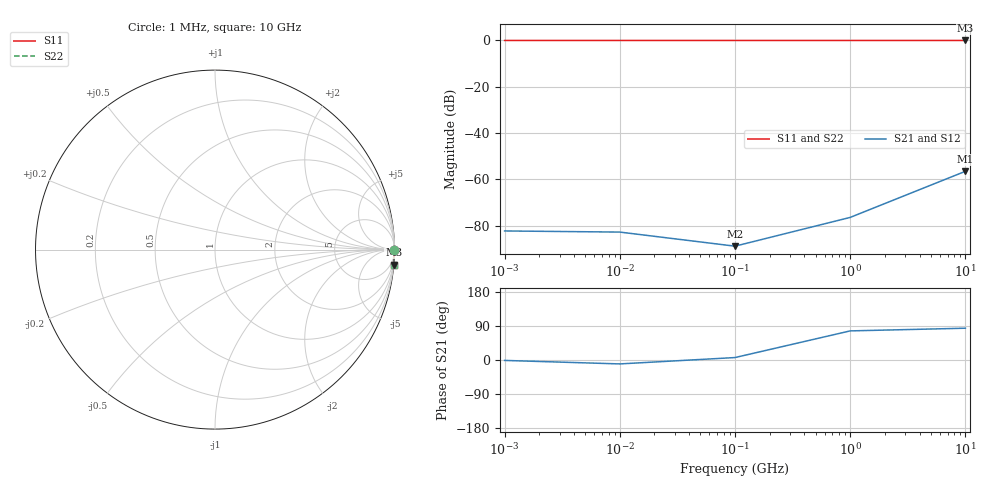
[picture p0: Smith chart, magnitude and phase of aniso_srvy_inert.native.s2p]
! Sonnet Data File
! From: em Version : 18.53-Lite
! From Project: d_zs01
! Data is NOT De-embedded
! Data File Written: 10/12/2026 11:31:27
!< HDATE 10/12/2026 11:31:27
!< MDATE 10/12/2026 11:31:27
# GHZ S RI R 50.00000
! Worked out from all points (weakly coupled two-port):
!   5 points, 1 MHz to 10 GHz, reference 50 ohm
!   highest |S21| = -56.56 dB at 10 GHz (marker M1); lowest = -88.9 dB at 100 MHz (marker M2)
!   lowest |S11| = 0.0 dB at 10 GHz (marker M3)
!   |S11| at or under -10 dB: nowhere
!   |S22| runs from 0.0 to 0.0 dB; largest |S21 - S12| = 5e-11
0.001  0.9997 -1.55e-05  7.64e-05 -1.49e-06  7.64e-05 -1.49e-06  0.9997 -1.55e-05
0.01  0.9997 -0.000149  7.1e-05 -1.3e-05  7.1e-05 -1.3e-05  0.9997 -0.000149
0.1  0.9995 -0.000928  3.56e-05 4.03e-06  3.56e-05 4.03e-06  0.9995 -0.000928
1  0.9994 -0.00839  3.42e-05 0.000146  3.42e-05 0.000146  0.9994 -0.00839
10  0.9959 -0.084  0.000158 0.00148  0.000158 0.00148  0.9959 -0.084
